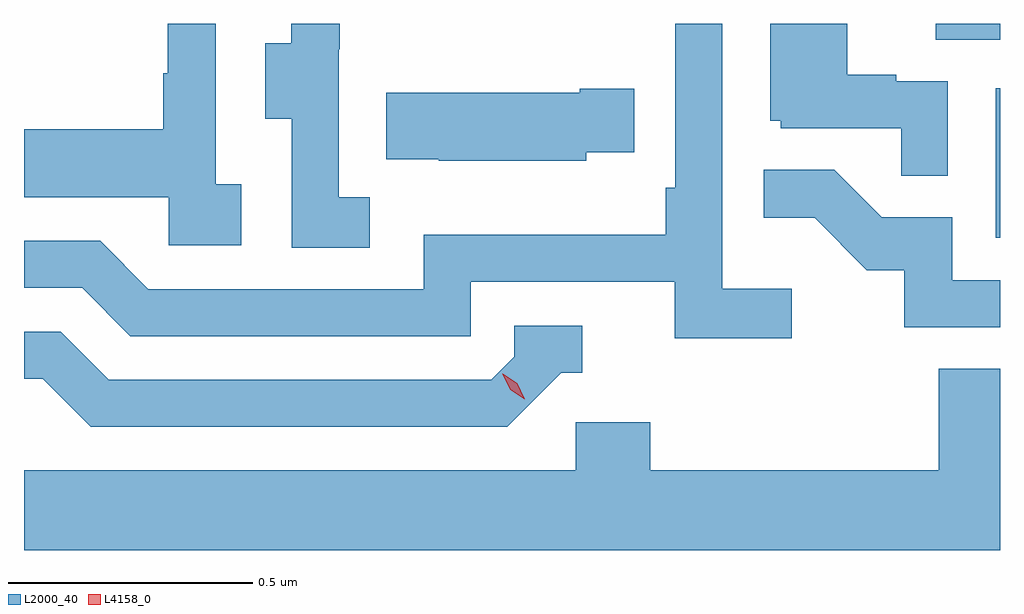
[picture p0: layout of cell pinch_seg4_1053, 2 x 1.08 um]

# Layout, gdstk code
import gdstk
lib = gdstk.Library(unit=1e-6, precision=1e-09)
def R(c, l, rs):  # rectangles x0, y0, x1, y1
    for r in rs: c.add(gdstk.rectangle(r[:2], r[2:], *l))
def P(c, l, *ps):  # polygons
    for p in ps: c.add(gdstk.Polygon(p, *l))
L2000_40 = (2000, 40)
L4158_0 = (4158, 0)

pinch_seg4_1053 = lib.new_cell('pinch_seg4_1053')
R(pinch_seg4_1053, L2000_40, [(818.93,754.836,818.939,755.143), (818.807,755.242,818.939,755.275)])
P(pinch_seg4_1053, L2000_40, [(818.832,755.157),(818.726,755.157),(818.726,755.17),(818.626,755.17),(818.626,755.275),(818.468,755.275),(818.468,755.076),(818.49,755.076),(818.49,755.061),(818.737,755.061),(818.737,754.963),(818.832,754.963)],
  [(818.512,754.732),(818.37,754.732),(818.37,755.275),(818.274,755.275),(818.274,754.939),(818.254,754.939),(818.254,754.843),(817.758,754.843),(817.758,754.731),(817.194,754.731),(817.095,754.83),(816.939,754.83),(816.939,754.734),(817.058,754.734),(817.157,754.635),(817.854,754.635),(817.854,754.746),(818.273,754.746),(818.273,754.63),(818.512,754.63)],
  [(817.384,754.946),(817.332,754.946),(817.332,755.275),(817.234,755.275),(817.234,755.174),(817.224,755.174),(817.224,755.059),(816.939,755.059),(816.939,754.919),(817.236,754.919),(817.236,754.821),(817.384,754.821)],
  [(817.648,754.919),(817.584,754.919),(817.584,755.223),(817.586,755.223),(817.586,755.275),(817.487,755.275),(817.487,755.235),(817.433,755.235),(817.433,755.08),(817.488,755.08),(817.488,754.816),(817.648,754.816)],
  [(818.091,755.012),(818.189,755.012),(818.189,755.142),(818.078,755.142),(818.078,755.134),(817.681,755.134),(817.681,754.997),(817.789,754.997),(817.789,754.994),(818.091,754.994)],
  [(818.939,754.749),(818.841,754.749),(818.841,754.878),(818.697,754.878),(818.599,754.976),(818.455,754.976),(818.455,754.877),(818.559,754.877),(818.666,754.77),(818.743,754.77),(818.743,754.653),(818.939,754.653)],
  [(818.04,754.56),(818.083,754.56),(818.083,754.656),(817.944,754.656),(817.944,754.593),(817.896,754.545),(817.113,754.545),(817.014,754.644),(816.939,754.644),(816.939,754.548),(816.977,754.548),(817.076,754.449),(817.929,754.449)],
  [(818.939,754.568),(818.813,754.568),(818.813,754.36),(818.222,754.36),(818.222,754.458),(818.07,754.458),(818.07,754.36),(816.939,754.36),(816.939,754.196),(818.939,754.196)])
P(pinch_seg4_1053, L4158_0, [(817.965,754.505),(817.935,754.525),(817.919,754.558),(817.919,754.558),(817.92,754.558),(817.95,754.538),(817.965,754.505),(817.965,754.505)])

lib.write_gds('pinch_seg4_1053.gds')
